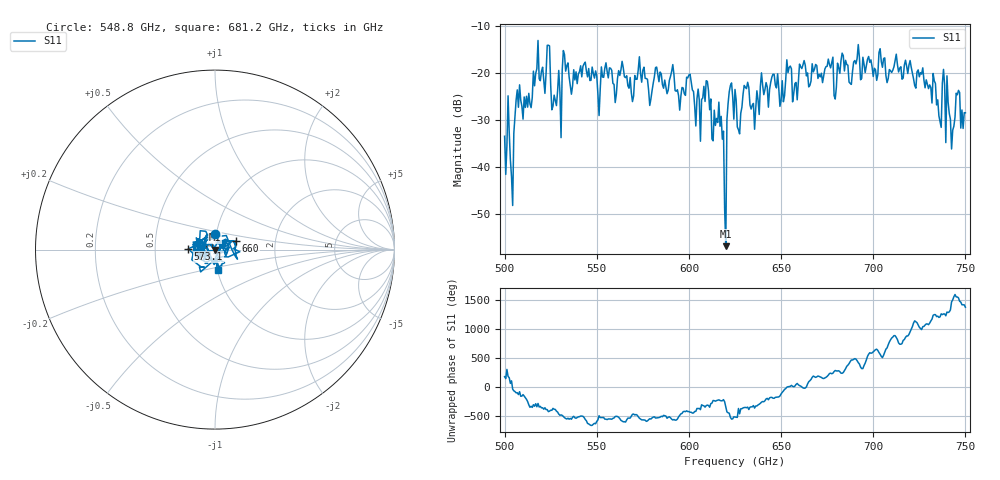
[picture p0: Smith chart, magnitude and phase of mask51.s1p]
!Created with skrf (http://scikit-rf.org).
# GHz S MA R 50.0
!freq magS11 angS11
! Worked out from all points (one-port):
!   401 points, 500 GHz to 750 GHz, reference 50 ohm
!   lowest |S11| = -56.8 dB at 620 GHz (marker M1), VSWR 1.00, Z = 50.1 + j0.0286 ohm
!   |S11| at or under -10 dB: start of sweep to end of sweep
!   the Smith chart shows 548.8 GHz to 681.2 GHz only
!   S11 on the Smith chart (normalised r, x): 548.8 GHz: 0.99, +0.18; 573.1 GHz: 0.74, +0.01; 660 GHz: 1.25, +0.12; 681.2 GHz: 1.01, -0.23
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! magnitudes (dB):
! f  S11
! 500 GHz  -33.4
! 503.8 GHz  -42.0
! 506.9 GHz  -23.6
! 513.8 GHz  -26.5
! 516.9 GHz  -20.1
! 523.8 GHz  -14.1
! 526.9 GHz  -24.7
! 531.2 GHz  -19.4
! 548.8 GHz  -21.0
! 562.5 GHz  -20.5
! 573.1 GHz  -16.5
! 593.8 GHz  -23.5
! 609.4 GHz  -21.6
! 617.5 GHz  -29.2
! 618.8 GHz  -32.3
! 620 GHz  -56.8
! 621.9 GHz  -23.9
! 625 GHz  -23.5
! 656.2 GHz  -26.1
! 660 GHz  -18.1
! 681.2 GHz  -18.8
! 687.5 GHz  -22.2
! 718.8 GHz  -20.1
! 735.6 GHz  -29.1
! 738.8 GHz  -22.6
! 742.5 GHz  -36.1
! 745.6 GHz  -24.6
! 750 GHz  -28.4
